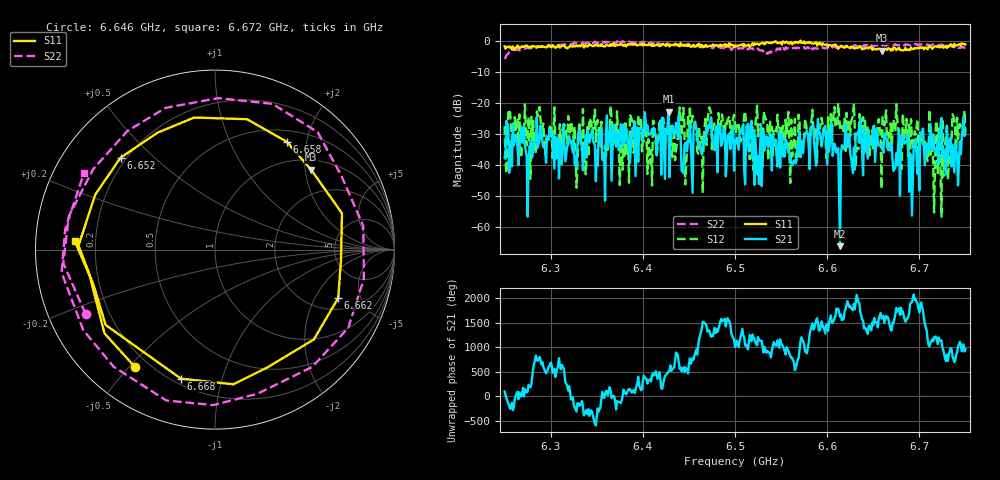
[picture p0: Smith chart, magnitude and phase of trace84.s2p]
# Hz S RI R 50
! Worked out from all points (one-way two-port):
!   401 points, 6.25 GHz to 6.75 GHz, reference 50 ohm
!   highest |S21| = -22.82 dB at 6.428 GHz (marker M1); lowest = -66.3 dB at 6.614 GHz (marker M2)
!   lowest |S11| = -3.1 dB at 6.659 GHz (marker M3), VSWR 5.59, Z = 62.2 + j107 ohm
!   |S11| at or under -10 dB: nowhere
!   |S22| runs from -5.8 to 0.1 dB; largest |S21 - S12| = 0.12
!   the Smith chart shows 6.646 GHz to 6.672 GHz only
!   S11 on the Smith chart (normalised r, x): 6.646 GHz: 0.15, -0.52; 6.652 GHz: 0.18, +0.39; 6.658 GHz: 0.66, +1.67; 6.662 GHz: 2.67, -3.15; 6.668 GHz: 0.23, -0.74; 6.672 GHz: 0.12, +0.03
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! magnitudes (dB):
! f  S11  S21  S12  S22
! 6.25 GHz  -1.8  -37.8  -27.5  -5.8
! 6.334 GHz  -1.3  -35.0  -35.3  -0.8
! 6.395 GHz  -1.3  -39.1  -24.6  -1.0
! 6.408 GHz  -1.4  -30.2  -39.6  -0.9
! 6.418 GHz  -1.7  -31.8  -25.7  -0.9
! 6.428 GHz  -1.5  -22.8  -31.2  -0.9
! 6.5 GHz  -1.5  -32.2  -27.7  -2.3
! 6.584 GHz  -0.9  -27.3  -22.3  -2.7
! 6.614 GHz  -1.8  -66.3  -28.1  -2.5
! 6.621 GHz  -1.6  -31.2  -23.2  -1.6
! 6.646 GHz  -2.0  -33.5  -37.0  -1.9
! 6.652 GHz  -2.7  -39.1  -29.6  -1.6
! 6.658 GHz  -2.8  -33.4  -30.7  -1.8
! 6.659 GHz  -3.1  -33.3  -47.7  -1.6
! 6.662 GHz  -2.6  -29.8  -27.4  -1.4
! 6.668 GHz  -2.6  -35.3  -34.1  -1.3
! 6.672 GHz  -2.1  -42.0  -25.5  -1.5
! 6.685 GHz  -2.2  -32.8  -30.4  -1.1
! 6.691 GHz  -2.2  -37.0  -25.3  -1.1
! 6.715 GHz  -2.2  -30.2  -39.0  -1.1
! 6.74 GHz  -1.4  -35.4  -37.3  -1.8
! 6.75 GHz  -1.2  -30.2  -29.7  -2.1
